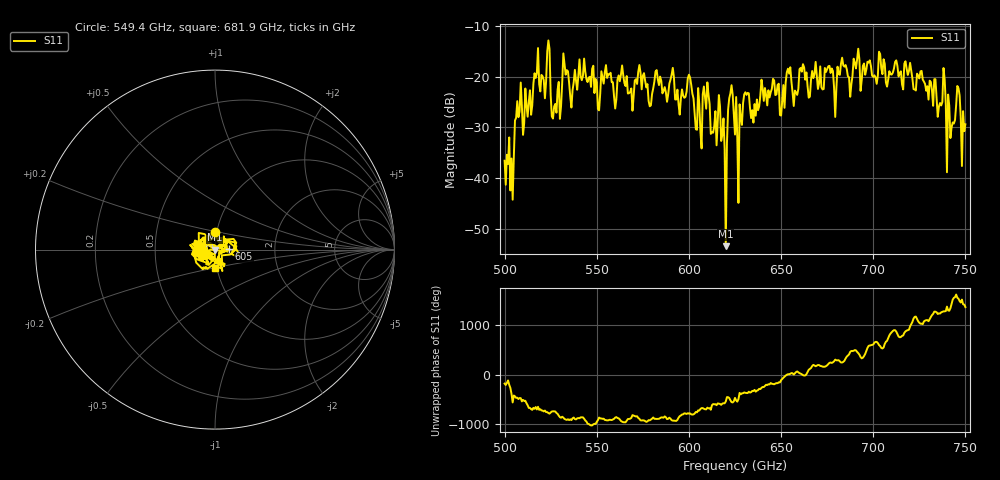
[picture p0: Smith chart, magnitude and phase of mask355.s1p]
!Created with skrf (http://scikit-rf.org).
# GHz S MA R 50.0
!freq magS11 angS11
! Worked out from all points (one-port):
!   401 points, 500 GHz to 750 GHz, reference 50 ohm
!   lowest |S11| = -53.5 dB at 620 GHz (marker M1), VSWR 1.00, Z = 49.8 - j0.00337 ohm
!   |S11| at or under -10 dB: start of sweep to end of sweep
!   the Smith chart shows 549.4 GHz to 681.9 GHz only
!   S11 on the Smith chart (normalised r, x): 549.4 GHz: 0.98, +0.19; 605 GHz: 1.17, +0.01; 681.9 GHz: 0.97, -0.21
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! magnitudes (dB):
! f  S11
! 500 GHz  -36.6
! 504.4 GHz  -44.3
! 507.5 GHz  -28.0
! 513.8 GHz  -22.6
! 516.9 GHz  -20.2
! 523.8 GHz  -12.8
! 526.9 GHz  -25.9
! 531.2 GHz  -21.2
! 549.4 GHz  -20.4
! 562.5 GHz  -20.9
! 579.4 GHz  -25.6
! 590.6 GHz  -19.5
! 593.8 GHz  -22.5
! 600.6 GHz  -20.1
! 605 GHz  -22.2
! 609.4 GHz  -26.3
! 620 GHz  -53.5
! 622.5 GHz  -23.3
! 625 GHz  -31.4
! 627.5 GHz  -25.4
! 631.2 GHz  -23.6
! 635 GHz  -29.0
! 656.2 GHz  -23.1
! 681.9 GHz  -19.6
! 687.5 GHz  -23.9
! 690.6 GHz  -18.3
! 718.8 GHz  -19.6
! 750 GHz  -29.4
